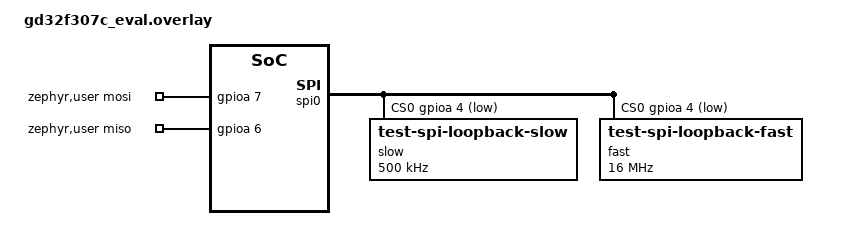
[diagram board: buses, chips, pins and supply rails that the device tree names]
/*
 * Copyright (c) 2026 GigaDevice Semiconductor Inc.
 *
 * SPDX-License-Identifier: Apache-2.0
 */

/*
 * Loopback runs on SPI0, the only controller whose MOSI and MISO both reach an
 * expansion header (JP9 pin 5 = PA7, pin 4 = PA6):
 *   SCK  = PA5  (JP9 pin 3)
 *   MOSI = PA7  (JP9 pin 5)
 *   MISO = PA6  (JP9 pin 4)
 *   CS   = PA4  (JP9 pin 2)
 * SPI1 cannot be used at all: its fixed MISO pin PB14 is not routed to any
 * header. SPI2 remapped (PC10/11/12) only reaches JP11.
 *
 * Board jumpers JP12 (PA5) and JP13 (PA7) must sit in the SPI position; JP13's
 * other position ties PA7 to the ENET PHY's RMII0_CRS_DV output.
 *
 * CS is moved off the board's PE3 onto SPI0's own NSS pin PA4 so the on-board
 * GD25Q16 NOR flash is never selected while random loopback data is clocked.
 */

/ {
	zephyr,user {
		/* PA7 (MOSI) is shorted to PA6 (MISO) for the deinit test. */
		mosi-gpios = <&gpioa 7 GPIO_ACTIVE_HIGH>;
		miso-gpios = <&gpioa 6 GPIO_ACTIVE_HIGH>;
	};
};

/* The NOR flash shares SPI0; keep it out of the loopback build. */
&spi_flash0 {
	status = "disabled";
};

&spi0 {
	status = "okay";
	cs-gpios = <&gpioa 4 GPIO_ACTIVE_LOW>;

	slow@0 {
		compatible = "test-spi-loopback-slow";
		reg = <0>;
		spi-max-frequency = <500000>;
	};

	fast@0 {
		compatible = "test-spi-loopback-fast";
		reg = <0>;
		spi-max-frequency = <16000000>;
	};
};
